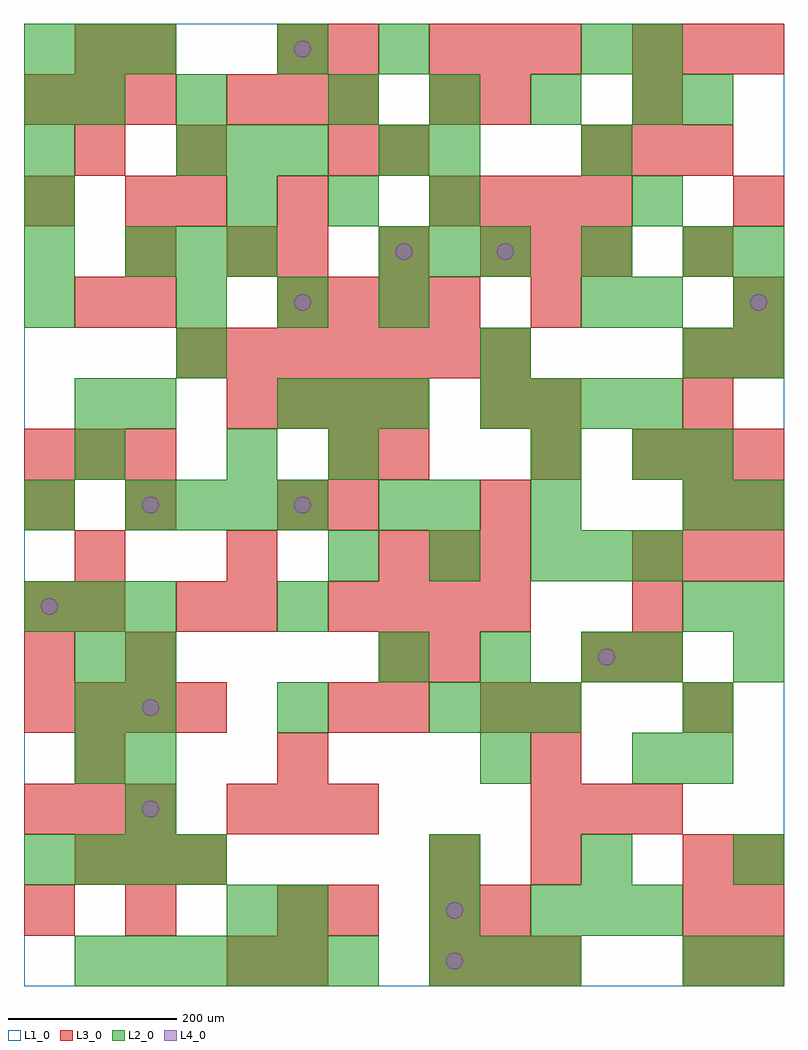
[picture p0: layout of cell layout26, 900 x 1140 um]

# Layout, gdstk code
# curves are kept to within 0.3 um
import gdstk
lib = gdstk.Library(unit=1e-6, precision=1e-09)
def R(c, l, rs):  # rectangles x0, y0, x1, y1
    for r in rs: c.add(gdstk.rectangle(r[:2], r[2:], *l))
def A(c, l, x, y, w, h, nx, ny, dx, dy):  # array of equal rectangles
    R(c, l, [(x+i*dx, y+j*dy, x+i*dx+w, y+j*dy+h) for i in range(nx) for j in range(ny)])
def P(c, l, *ps):  # polygons
    for p in ps: c.add(gdstk.Polygon(p, *l))
L1_0 = (1, 0)
L2_0 = (2, 0)
L3_0 = (3, 0)
L4_0 = (4, 0)

layout26 = lib.new_cell('layout26')
R(layout26, L1_0, [(0,0,900,1140)])
A(layout26, L2_0, 60, 0, 60, 60, 6, 1, 60, 0)
A(layout26, L2_0, 480, 0, 60, 60, 3, 1, 60, 0)
A(layout26, L2_0, 600, 60, 60, 60, 3, 1, 60, 0)
A(layout26, L2_0, 0, 120, 60, 60, 4, 1, 60, 0)
A(layout26, L2_0, 480, 120, 60, 60, 3, 1, 180, 0)
A(layout26, L2_0, 60, 240, 60, 60, 1, 3, 0, 60)
A(layout26, L2_0, 720, 240, 60, 60, 1, 4, 0, 120)
A(layout26, L2_0, 120, 300, 60, 60, 3, 1, 180, 0)
A(layout26, L2_0, 780, 300, 60, 60, 1, 3, 0, 120)
A(layout26, L2_0, 420, 360, 60, 60, 3, 1, 120, 0)
A(layout26, L2_0, 0, 420, 60, 60, 3, 2, 60, 660)
A(layout26, L2_0, 360, 480, 60, 60, 3, 1, 120, 0)
A(layout26, L2_0, 120, 540, 60, 60, 4, 1, 60, 0)
A(layout26, L2_0, 780, 600, 60, 60, 1, 3, 0, 120)
A(layout26, L2_0, 300, 660, 60, 60, 3, 1, 60, 0)
A(layout26, L2_0, 540, 660, 60, 60, 4, 1, 60, 0)
A(layout26, L2_0, 840, 720, 60, 60, 1, 3, 0, 60)
A(layout26, L2_0, 0, 780, 60, 60, 1, 5, 0, 60)
A(layout26, L2_0, 180, 780, 60, 60, 3, 1, 120, 0)
A(layout26, L2_0, 120, 840, 60, 60, 3, 1, 60, 0)
A(layout26, L2_0, 420, 840, 60, 60, 3, 1, 60, 0)
A(layout26, L2_0, 660, 840, 60, 60, 1, 3, 0, 120)
A(layout26, L2_0, 240, 900, 60, 60, 3, 1, 120, 0)
A(layout26, L2_0, 180, 960, 60, 60, 3, 1, 60, 0)
A(layout26, L2_0, 360, 1020, 60, 60, 4, 1, 120, 0)
R(layout26, L2_0, [(780,0,840,60), (840,0,900,60), (240,60,300,120), (300,60,360,120), (480,60,540,120), (120,180,180,240), (120,240,180,300), (540,240,600,300), (780,240,840,300), (540,300,600,360), (600,300,660,360), (120,360,180,420), (840,360,900,420), (300,420,360,480), (840,420,900,480), (660,480,720,540), (0,540,60,600), (420,540,480,600), (480,540,540,600), (600,540,660,600), (840,540,900,600), (60,600,120,660), (240,600,300,660), (360,600,420,660), (600,600,660,660), (60,660,120,720), (120,660,180,720), (180,720,240,780), (540,720,600,780), (660,780,720,840), (720,780,780,840), (720,900,780,960), (420,960,480,1020), (480,960,540,1020), (60,1020,120,1080), (180,1020,240,1080), (780,1020,840,1080), (300,1080,360,1140), (420,1080,480,1140), (720,1080,780,1140)])
A(layout26, L3_0, 240, 0, 60, 60, 1, 3, 0, 420)
A(layout26, L3_0, 480, 0, 60, 60, 3, 2, 60, 1080)
A(layout26, L3_0, 780, 0, 60, 60, 1, 3, 0, 60)
A(layout26, L3_0, 840, 0, 60, 60, 1, 3, 0, 60)
A(layout26, L3_0, 360, 60, 60, 60, 1, 3, 0, 240)
A(layout26, L3_0, 60, 120, 60, 60, 3, 1, 60, 0)
A(layout26, L3_0, 0, 180, 60, 60, 3, 3, 60, 420)
A(layout26, L3_0, 240, 180, 60, 60, 3, 2, 60, 840)
A(layout26, L3_0, 600, 180, 60, 60, 3, 1, 60, 0)
A(layout26, L3_0, 0, 300, 60, 60, 4, 1, 60, 0)
A(layout26, L3_0, 360, 420, 60, 60, 4, 1, 60, 0)
A(layout26, L3_0, 60, 480, 60, 60, 3, 1, 180, 0)
A(layout26, L3_0, 720, 480, 60, 60, 3, 2, 60, 120)
A(layout26, L3_0, 240, 660, 60, 60, 4, 1, 60, 0)
A(layout26, L3_0, 180, 720, 60, 60, 7, 1, 60, 0)
A(layout26, L3_0, 120, 780, 60, 60, 1, 3, 0, 60)
A(layout26, L3_0, 300, 780, 60, 60, 4, 1, 60, 0)
A(layout26, L3_0, 300, 840, 60, 60, 3, 1, 120, 0)
A(layout26, L3_0, 480, 900, 60, 60, 4, 1, 60, 0)
A(layout26, L3_0, 660, 960, 60, 60, 3, 1, 60, 0)
A(layout26, L3_0, 720, 1080, 60, 60, 3, 1, 60, 0)
R(layout26, L3_0, [(300,0,360,60), (0,60,60,120), (120,60,180,120), (300,60,360,120), (480,60,540,120), (540,60,600,120), (480,120,540,180), (600,120,660,180), (60,240,120,300), (300,240,360,300), (600,240,660,300), (420,300,480,360), (540,300,600,360), (600,300,660,360), (780,300,840,360), (0,360,60,420), (120,360,180,420), (420,360,480,420), (480,360,540,420), (660,360,720,420), (720,360,780,420), (0,420,60,480), (60,420,120,480), (180,420,240,480), (720,420,780,480), (480,480,540,540), (540,480,600,540), (0,540,60,600), (120,540,180,600), (300,540,360,600), (540,540,600,600), (780,540,840,600), (840,540,900,600), (360,600,420,660), (420,600,480,660), (600,600,660,660), (540,660,600,720), (600,660,660,720), (780,660,840,720), (780,720,840,780), (840,720,900,780), (60,780,120,840), (600,780,660,840), (840,780,900,840), (600,840,660,900), (660,840,720,900), (780,840,840,900), (0,900,60,960), (180,900,240,960), (300,900,360,960), (840,900,900,960), (60,960,120,1020), (180,960,240,1020), (360,960,420,1020), (420,960,480,1020), (480,1020,540,1080), (540,1020,600,1080), (720,1020,780,1080), (60,1080,120,1140), (120,1080,180,1140), (300,1080,360,1140), (360,1080,420,1140)])
P(layout26, L4_0, [(40,450),(39.239,453.827),(37.071,457.071),(33.827,459.239),(30,460),(26.173,459.239),(22.929,457.071),(20.761,453.827),(20,450),(20.761,446.173),(22.929,442.929),(26.173,440.761),(30,440),(33.827,440.761),(37.071,442.929),(39.239,446.173)],
  [(160,210),(159.239,213.827),(157.071,217.071),(153.827,219.239),(150,220),(146.173,219.239),(142.929,217.071),(140.761,213.827),(140,210),(140.761,206.173),(142.929,202.929),(146.173,200.761),(150,200),(153.827,200.761),(157.071,202.929),(159.239,206.173)],
  [(160,330),(159.239,333.827),(157.071,337.071),(153.827,339.239),(150,340),(146.173,339.239),(142.929,337.071),(140.761,333.827),(140,330),(140.761,326.173),(142.929,322.929),(146.173,320.761),(150,320),(153.827,320.761),(157.071,322.929),(159.239,326.173)],
  [(160,570),(159.239,573.827),(157.071,577.071),(153.827,579.239),(150,580),(146.173,579.239),(142.929,577.071),(140.761,573.827),(140,570),(140.761,566.173),(142.929,562.929),(146.173,560.761),(150,560),(153.827,560.761),(157.071,562.929),(159.239,566.173)],
  [(340,570),(339.239,573.827),(337.071,577.071),(333.827,579.239),(330,580),(326.173,579.239),(322.929,577.071),(320.761,573.827),(320,570),(320.761,566.173),(322.929,562.929),(326.173,560.761),(330,560),(333.827,560.761),(337.071,562.929),(339.239,566.173)],
  [(340,810),(339.239,813.827),(337.071,817.071),(333.827,819.239),(330,820),(326.173,819.239),(322.929,817.071),(320.761,813.827),(320,810),(320.761,806.173),(322.929,802.929),(326.173,800.761),(330,800),(333.827,800.761),(337.071,802.929),(339.239,806.173)],
  [(340,1110),(339.239,1113.827),(337.071,1117.071),(333.827,1119.239),(330,1120),(326.173,1119.239),(322.929,1117.071),(320.761,1113.827),(320,1110),(320.761,1106.173),(322.929,1102.929),(326.173,1100.761),(330,1100),(333.827,1100.761),(337.071,1102.929),(339.239,1106.173)],
  [(460,870),(459.239,873.827),(457.071,877.071),(453.827,879.239),(450,880),(446.173,879.239),(442.929,877.071),(440.761,873.827),(440,870),(440.761,866.173),(442.929,862.929),(446.173,860.761),(450,860),(453.827,860.761),(457.071,862.929),(459.239,866.173)],
  [(520,30),(519.239,33.827),(517.071,37.071),(513.827,39.239),(510,40),(506.173,39.239),(502.929,37.071),(500.761,33.827),(500,30),(500.761,26.173),(502.929,22.929),(506.173,20.761),(510,20),(513.827,20.761),(517.071,22.929),(519.239,26.173)],
  [(520,90),(519.239,93.827),(517.071,97.071),(513.827,99.239),(510,100),(506.173,99.239),(502.929,97.071),(500.761,93.827),(500,90),(500.761,86.173),(502.929,82.929),(506.173,80.761),(510,80),(513.827,80.761),(517.071,82.929),(519.239,86.173)],
  [(580,870),(579.239,873.827),(577.071,877.071),(573.827,879.239),(570,880),(566.173,879.239),(562.929,877.071),(560.761,873.827),(560,870),(560.761,866.173),(562.929,862.929),(566.173,860.761),(570,860),(573.827,860.761),(577.071,862.929),(579.239,866.173)],
  [(700,390),(699.239,393.827),(697.071,397.071),(693.827,399.239),(690,400),(686.173,399.239),(682.929,397.071),(680.761,393.827),(680,390),(680.761,386.173),(682.929,382.929),(686.173,380.761),(690,380),(693.827,380.761),(697.071,382.929),(699.239,386.173)],
  [(880,810),(879.239,813.827),(877.071,817.071),(873.827,819.239),(870,820),(866.173,819.239),(862.929,817.071),(860.761,813.827),(860,810),(860.761,806.173),(862.929,802.929),(866.173,800.761),(870,800),(873.827,800.761),(877.071,802.929),(879.239,806.173)])

lib.write_gds('layout26.gds')
